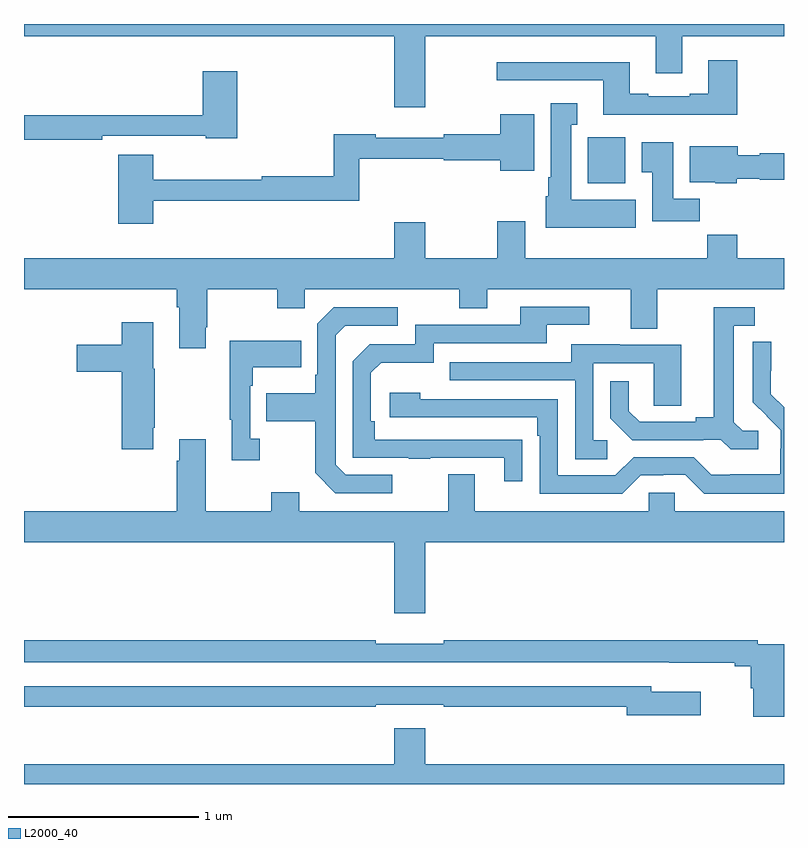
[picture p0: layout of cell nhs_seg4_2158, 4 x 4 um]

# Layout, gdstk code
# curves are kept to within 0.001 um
import gdstk
lib = gdstk.Library(unit=1e-6, precision=1e-09)
def R(c, l, rs):  # rectangles x0, y0, x1, y1
    for r in rs: c.add(gdstk.rectangle(r[:2], r[2:], *l))
def P(c, l, *ps):  # polygons
    for p in ps: c.add(gdstk.Polygon(p, *l))
L2000_40 = (2000, 40)

nhs_seg4_2158 = lib.new_cell('nhs_seg4_2158')
R(nhs_seg4_2158, L2000_40, [(225.968,780.062,226.165,780.304)])
P(nhs_seg4_2158, L2000_40, [(225.112,780.836),(226.325,780.836),(226.325,780.642),(226.465,780.642),(226.465,780.836),(227,780.836),(227,780.9),(223,780.9),(223,780.836),(224.948,780.836),(224.948,780.462),(225.112,780.462)],
  [(226.754,780.709),(226.601,780.709),(226.601,780.532),(226.505,780.532),(226.505,780.519),(226.285,780.519),(226.285,780.532),(226.189,780.532),(226.189,780.7),(225.489,780.7),(225.489,780.603),(226.049,780.603),(226.049,780.422),(226.754,780.422)],
  [(223.412,780.312),(223.956,780.312),(223.956,780.299),(224.123,780.299),(224.123,780.652),(223.94,780.652),(223.94,780.421),(223,780.421),(223,780.292),(223.412,780.292)],
  [(226.219,779.974),(225.88,779.974),(225.88,780.371),(225.913,780.371),(225.913,780.484),(225.773,780.484),(225.773,780.094),(225.758,780.094),(225.758,779.994),(225.746,779.994),(225.746,779.828),(226.219,779.828)],
  [(223.679,779.97),(224.765,779.97),(224.765,780.192),(225.21,780.192),(225.21,780.184),(225.506,780.184),(225.506,780.128),(225.685,780.128),(225.685,780.424),(225.506,780.424),(225.506,780.32),(225.208,780.32),(225.208,780.301),(224.852,780.301),(224.852,780.32),(224.629,780.32),(224.629,780.098),(224.252,780.098),(224.252,780.081),(223.679,780.081),(223.679,780.211),(223.496,780.211),(223.496,779.85),(223.679,779.85)],
  [(226.556,779.98),(226.417,779.98),(226.417,780.277),(226.25,780.277),(226.25,780.121),(226.307,780.121),(226.307,779.862),(226.556,779.862)],
  [(226.752,780.086),(226.872,780.086),(226.872,780.079),(227,780.079),(227,780.221),(226.872,780.221),(226.872,780.208),(226.756,780.208),(226.756,780.256),(226.505,780.256),(226.505,780.068),(226.638,780.068),(226.638,780.062),(226.752,780.062)],
  [(227,779.668),(226.754,779.668),(226.754,779.792),(226.597,779.792),(226.597,779.668),(225.637,779.668),(225.637,779.863),(225.49,779.863),(225.49,779.668),(225.112,779.668),(225.112,779.857),(224.948,779.857),(224.948,779.668),(223,779.668),(223,779.504),(223.805,779.504),(223.805,779.408),(223.817,779.408),(223.817,779.193),(223.957,779.193),(223.957,779.305),(223.965,779.305),(223.965,779.504),(224.332,779.504),(224.332,779.405),(224.478,779.405),(224.478,779.504),(225.292,779.504),(225.292,779.405),(225.439,779.405),(225.439,779.504),(226.193,779.504),(226.193,779.296),(226.333,779.296),(226.333,779.504),(227,779.504)],
  [(225.623,778.712),(224.846,778.713),(224.846,778.81),(224.826,778.81),(224.826,779.064),(224.879,779.117),(225.156,779.117),(225.156,779.22),(225.751,779.22),(225.751,779.316),(225.976,779.316),(225.976,779.412),(225.611,779.412),(225.611,779.316),(225.06,779.316),(225.06,779.214),(224.82,779.214),(224.73,779.124),(224.73,778.617),(225.025,778.617),(225.025,778.612),(225.137,778.612),(225.137,778.617),(225.527,778.617),(225.527,778.494),(225.623,778.494)],
  [(226.864,778.758),(226.782,778.758),(226.735,778.805),(226.735,779.313),(226.846,779.313),(226.846,779.409),(226.631,779.409),(226.631,778.829),(226.535,778.829),(226.535,778.806),(226.24,778.806),(226.183,778.863),(226.183,779.02),(226.086,779.02),(226.086,778.826),(226.202,778.71),(226.574,778.71),(226.574,778.713),(226.668,778.713),(226.72,778.661),(226.864,778.661)],
  [(224.938,778.527),(224.694,778.527),(224.64,778.581),(224.64,779.262),(224.691,779.313),(224.968,779.313),(224.968,779.409),(224.631,779.409),(224.544,779.322),(224.544,779.053),(224.532,779.053),(224.532,778.957),(224.275,778.957),(224.275,778.81),(224.532,778.81),(224.532,778.537),(224.637,778.431),(224.938,778.431)],
  [(223.681,778.774),(223.689,778.774),(223.689,779.085),(223.681,779.085),(223.681,779.329),(223.514,779.329),(223.514,779.211),(223.278,779.211),(223.278,779.069),(223.514,779.069),(223.514,778.662),(223.681,778.662)],
  [(224.242,778.718),(224.19,778.718),(224.19,778.997),(224.203,778.997),(224.203,779.093),(224.459,779.093),(224.459,779.233),(224.082,779.233),(224.082,778.817),(224.093,778.817),(224.093,778.605),(224.242,778.605)],
  [(227,778.882),(226.931,778.952),(226.932,779.228),(226.836,779.228),(226.836,778.91),(226.982,778.762),(226.982,778.665),(226.98,778.665),(226.98,778.531),(226.717,778.531),(226.717,778.527),(226.617,778.527),(226.524,778.62),(226.209,778.62),(226.113,778.524),(225.81,778.524),(225.81,778.926),(225.086,778.926),(225.086,778.96),(224.925,778.96),(224.925,778.83),(225.701,778.83),(225.701,778.733),(225.714,778.733),(225.714,778.428),(226.149,778.428),(226.245,778.524),(226.364,778.524),(226.364,778.527),(226.479,778.527),(226.579,778.427),(227,778.427)],
  [(226.069,778.71),(225.996,778.71),(225.996,779.115),(226.314,779.115),(226.314,778.891),(226.459,778.891),(226.459,779.211),(226.135,779.211),(226.135,779.215),(225.881,779.215),(225.881,779.121),(225.241,779.121),(225.241,779.025),(225.9,779.025),(225.9,778.609),(226.069,778.609)],
  [(225.112,778.172),(227,778.172),(227,778.336),(226.425,778.336),(226.425,778.434),(226.287,778.434),(226.287,778.336),(225.373,778.336),(225.373,778.531),(225.233,778.531),(225.233,778.336),(224.449,778.336),(224.449,778.435),(224.302,778.435),(224.302,778.336),(223.957,778.336),(223.957,778.714),(223.817,778.714),(223.817,778.601),(223.805,778.601),(223.805,778.336),(223,778.336),(223,778.172),(224.948,778.172),(224.948,777.798),(225.112,777.798)],
  [(227,777.636),(226.862,777.636),(226.862,777.656),(225.208,777.656),(225.208,777.637),(224.852,777.637),(224.852,777.656),(223,777.656),(223,777.54),(226.396,777.54),(226.396,777.539),(226.742,777.539),(226.742,777.52),(226.826,777.52),(226.826,777.405),(226.838,777.405),(226.838,777.255),(227,777.255)],
  [(226.561,777.385),(226.3,777.385),(226.3,777.414),(223,777.414),(223,777.306),(224.852,777.306),(224.852,777.318),(225.208,777.318),(225.208,777.306),(226.172,777.306),(226.172,777.263),(226.561,777.263)],
  [(227,777.004),(225.112,777.004),(225.112,777.193),(224.948,777.193),(224.948,777.004),(223,777.004),(223,776.9),(227,776.9)])

lib.write_gds('nhs_seg4_2158.gds')
